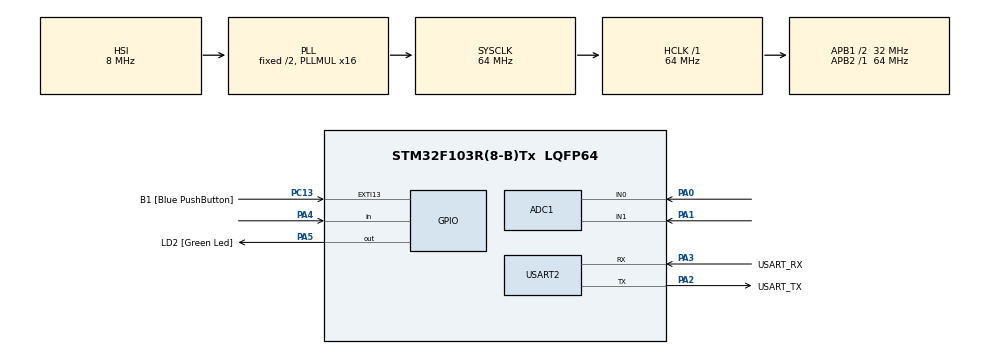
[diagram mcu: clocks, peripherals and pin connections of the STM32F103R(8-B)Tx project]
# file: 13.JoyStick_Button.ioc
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ADC1.Channel-0\#ChannelRegularConversion=ADC_CHANNEL_0
ADC1.Channel-1\#ChannelRegularConversion=ADC_CHANNEL_1
ADC1.ContinuousConvMode=ENABLE
ADC1.NbrOfConversion=2
ADC1.NbrOfConversionFlag=1
ADC1.Rank-0\#ChannelRegularConversion=1
ADC1.Rank-1\#ChannelRegularConversion=2
ADC1.SamplingTime-0\#ChannelRegularConversion=ADC_SAMPLETIME_239CYCLES_5
ADC1.SamplingTime-1\#ChannelRegularConversion=ADC_SAMPLETIME_239CYCLES_5
ADC1.master=1
Dma.ADC1.0.Direction=DMA_PERIPH_TO_MEMORY
Dma.ADC1.0.Instance=DMA1_Channel1
Dma.ADC1.0.MemDataAlignment=DMA_MDATAALIGN_HALFWORD
Dma.ADC1.0.MemInc=DMA_MINC_ENABLE
Dma.ADC1.0.Mode=DMA_CIRCULAR
Dma.ADC1.0.PeriphDataAlignment=DMA_PDATAALIGN_HALFWORD
Dma.ADC1.0.PeriphInc=DMA_PINC_DISABLE
Dma.ADC1.0.Priority=DMA_PRIORITY_MEDIUM
Dma.Request0=ADC1
Mcu.Family=STM32F1
Mcu.Name=STM32F103R(8-B)Tx
Mcu.Package=LQFP64
NVIC.DMA1_Channel1_IRQn=true\:0\:0\:false\:false\:true\:false\:true\:true
NVIC.EXTI15_10_IRQn=true\:0\:0\:false\:false\:true\:true\:true\:true
NVIC.PriorityGroup=NVIC_PRIORITYGROUP_4
NVIC.TIM2_IRQn=true\:0\:0\:false\:false\:true\:true\:true\:true
PA0-WKUP.Signal=ADCx_IN0
PA1.Signal=ADCx_IN1
PA13.GPIO_Label=TMS
PA13.Mode=Serial_Wire
PA13.Signal=SYS_JTMS-SWDIO
PA14.GPIO_Label=TCK
PA14.Mode=Serial_Wire
PA14.Signal=SYS_JTCK-SWCLK
PA2.GPIO_Label=USART_TX
PA2.GPIO_Mode=GPIO_MODE_AF_PP
PA2.GPIO_PuPd=GPIO_NOPULL
PA2.GPIO_Speed=GPIO_SPEED_FREQ_LOW
PA2.Mode=Asynchronous
PA2.Signal=USART2_TX
PA3.GPIO_Label=USART_RX
PA3.GPIO_Mode=GPIO_MODE_AF_PP
PA3.GPIO_PuPd=GPIO_NOPULL
PA3.GPIO_Speed=GPIO_SPEED_FREQ_LOW
PA3.Mode=Asynchronous
PA3.Signal=USART2_RX
PA4.Signal=GPIO_Input
PA5.GPIO_Label=LD2 [Green Led]
PA5.GPIO_ModeDefaultOutputPP=GPIO_MODE_OUTPUT_PP
PA5.GPIO_PuPd=GPIO_NOPULL
PA5.GPIO_Speed=GPIO_SPEED_FREQ_LOW
PA5.Signal=GPIO_Output
PB3.GPIO_Label=SWO
PB3.Signal=SYS_JTDO-TRACESWO
PC13-TAMPER-RTC.GPIO_Label=B1 [Blue PushButton]
PC13-TAMPER-RTC.GPIO_PuPd=GPIO_NOPULL
PC13-TAMPER-RTC.Signal=GPXTI13
PC14-OSC32_IN.Signal=RCC_OSC32_IN
PC15-OSC32_OUT.Signal=RCC_OSC32_OUT
PD0-OSC_IN.Signal=RCC_OSC_IN
PD1-OSC_OUT.Signal=RCC_OSC_OUT
ProjectManager.HeapSize=0x200
ProjectManager.StackSize=0x400
ProjectManager.TargetToolchain=STM32CubeIDE
RCC.ADCPresc=RCC_ADCPCLK2_DIV6
RCC.AHBFreq_Value=64000000
RCC.APB1CLKDivider=RCC_HCLK_DIV2
RCC.APB1Freq_Value=32000000
RCC.APB1TimFreq_Value=64000000
RCC.APB2Freq_Value=64000000
RCC.APB2TimFreq_Value=64000000
RCC.HCLKFreq_Value=64000000
RCC.PLLMUL=RCC_PLL_MUL16
RCC.RTCClockSelection=RCC_RTCCLKSOURCE_LSE
RCC.SYSCLKFreq_VALUE=64000000
RCC.SYSCLKSource=RCC_SYSCLKSOURCE_PLLCLK
RCC.USBFreq_Value=64000000
SH.ADCx_IN0.0=ADC1_IN0,IN0
SH.ADCx_IN1.0=ADC1_IN1,IN1
TIM2.Period=499
TIM2.Prescaler=6399
USART2.VirtualMode=VM_ASYNC
VP_TIM2_VS_ClockSourceINT.Mode=Internal
board=NUCLEO-F103RB

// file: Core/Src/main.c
/* USER CODE BEGIN Header */
/**
  ******************************************************************************
  * @file           : main.c
  * @brief          : Main program body
  ******************************************************************************
  * @attention
  *
  * Copyright (c) 2025 STMicroelectronics.
  * All rights reserved.
  *
  * This software is licensed under terms that can be found in the LICENSE file
  * in the root directory of this software component.
  * If no LICENSE file comes with this software, it is provided AS-IS.
  *
  ******************************************************************************
  */
/* USER CODE END Header */
#include "main.h"

/* USER CODE BEGIN Includes */
#include "stm32f1xx_hal.h"
#include <stdio.h>
#include <string.h>
/* USER CODE END Includes */

/* USER CODE BEGIN PD */
#define ADC_BUFFER_SIZE 2
#define FILTER_SIZE 8
#define ADC_MAX_VALUE 4095
#define DEADZONE_THRESHOLD 20

#define DEBOUNCE_MS         50      /* Debounce time in ms */
#define LONG_PRESS_MS       700    /* Long press threshold */
#define DOUBLE_CLICK_MS     500     /* Double click window */

//// 스위치 디바운싱 설정
//#define DEBOUNCE_TIME_MS 200

// 캘리브레이션 샘플 수
#define CALIBRATION_SAMPLES 32

/* USER CODE END PD */

ADC_HandleTypeDef hadc1;
DMA_HandleTypeDef hdma_adc1;

TIM_HandleTypeDef htim2;

UART_HandleTypeDef huart2;

/* USER CODE BEGIN PV */
uint16_t adc_buffer[ADC_BUFFER_SIZE];
uint16_t joystick_x_raw = 0;
uint16_t joystick_y_raw = 0;

// X축 필터 변수
uint32_t x_filter_buffer[FILTER_SIZE] = {0};
uint8_t x_filter_index = 0;
uint8_t x_filter_init = 0;

// Y축 필터 변수
uint32_t y_filter_buffer[FILTER_SIZE] = {0};
uint8_t y_filter_index = 0;
uint8_t y_filter_init = 0;

uint16_t joystick_x_filtered = 0;
uint16_t joystick_y_filtered = 0;

// 캘리브레이션 값 (중립 위치)
uint16_t joystick_x_center = ADC_MAX_VALUE / 2;  // 기본값 2048
uint16_t joystick_y_center = ADC_MAX_VALUE / 2;  // 기본값 2048
uint8_t calibration_done = 0;

int16_t joystick_x_percent = 0;
int16_t joystick_y_percent = 0;

char direction_char = 'X';
char prev_direction_char = 'X';

// 스위치 관련 변수
volatile uint8_t switch_pressed = 0;
volatile uint32_t last_switch_time = 0;

char uart_buffer[100];

volatile uint32_t button_press_time = 0;
volatile uint32_t button_release_time = 0;
volatile uint32_t last_click_time = 0;
volatile uint8_t button_state = 0;
volatile uint8_t click_count = 0;
volatile uint32_t press_count = 0;
volatile uint8_t pending_click = 0;

/* Event flags */
volatile uint8_t event_short_press = 0;  // HOLD (U)
volatile uint8_t event_long_press = 0;   // HOME (Y)
volatile uint8_t event_double_click = 0; // RELEASE (I)

/* USER CODE END PV */

void SystemClock_Config(void);
static void MX_GPIO_Init(void);
static void MX_DMA_Init(void);
static void MX_USART2_UART_Init(void);
static void MX_ADC1_Init(void);
static void MX_TIM2_Init(void);
/* USER CODE BEGIN PFP */
void process_joystick_data(void);
void calibrate_joystick(void);
uint16_t apply_moving_average_x(uint16_t new_value);
uint16_t apply_moving_average_y(uint16_t new_value);
int16_t convert_to_percentage_calibrated(uint16_t adc_value, uint16_t center);
char get_direction_char(int16_t x_percent, int16_t y_percent);

/* 버튼 및 통신 관련 프로토타입 추가 */
void Process_Button(void);
void Handle_Events(void);
void UART_SendString(char *str);

/* USER CODE END PFP */

/* USER CODE BEGIN 0 */
#ifdef __GNUC__
#define PUTCHAR_PROTOTYPE int __io_putchar(int ch)
#else
#define PUTCHAR_PROTOTYPE int fputc(int ch, FILE *f)
#endif

PUTCHAR_PROTOTYPE
{
    if (ch == '\n')
        HAL_UART_Transmit(&huart2, (uint8_t*)"\r", 1, 0xFFFF);
    HAL_UART_Transmit(&huart2, (uint8_t*)&ch, 1, 0xFFFF);
    return ch;
}

// X축 전용 이동 평균 필터
uint16_t apply_moving_average_x(uint16_t new_value)
{
    uint32_t sum = 0;

    // 첫 호출 시 버퍼 초기화
    if (!x_filter_init) {
        for (int i = 0; i < FILTER_SIZE; i++) {
            x_filter_buffer[i] = new_value;
        }
        x_filter_init = 1;
        return new_value;
    }

    // 현재 인덱스에 새 값 저장
    x_filter_buffer[x_filter_index] = new_value;
    x_filter_index = (x_filter_index + 1) % FILTER_SIZE;

    // 평균 계산
    for (int i = 0; i < FILTER_SIZE; i++) {
        sum += x_filter_buffer[i];
    }

    return (uint16_t)(sum / FILTER_SIZE);
}

// Y축 전용 이동 평균 필터
uint16_t apply_moving_average_y(uint16_t new_value)
{
    uint32_t sum = 0;

    // 첫 호출 시 버퍼 초기화
    if (!y_filter_init) {
        for (int i = 0; i < FILTER_SIZE; i++) {
            y_filter_buffer[i] = new_value;
        }
        y_filter_init = 1;
        return new_value;
    }

    // 현재 인덱스에 새 값 저장
    y_filter_buffer[y_filter_index] = new_value;
    y_filter_index = (y_filter_index + 1) % FILTER_SIZE;

    // 평균 계산
    for (int i = 0; i < FILTER_SIZE; i++) {
        sum += y_filter_buffer[i];
    }

    return (uint16_t)(sum / FILTER_SIZE);
}

// 캘리브레이션된 퍼센트 변환
int16_t convert_to_percentage_calibrated(uint16_t adc_value, uint16_t center)
{
    int16_t centered_value = (int16_t)adc_value - (int16_t)center;
    int16_t percentage;

    if (centered_value >= 0) {
        // 양의 방향: center ~ ADC_MAX_VALUE
        uint16_t range = ADC_MAX_VALUE - center;
        if (range == 0) range = 1;  // 0으로 나누기 방지
        percentage = (centered_value * 100) / range;
    } else {
        // 음의 방향: 0 ~ center
        uint16_t range = center;
        if (range == 0) range = 1;  // 0으로 나누기 방지
        percentage = (centered_value * 100) / range;
    }

    // 범위 제한
    if (percentage > 100) percentage = 100;
    if (percentage < -100) percentage = -100;

    return percentage;
}

// 조이스틱 캘리브레이션 (시작 시 호출)
void calibrate_joystick(void)
{
    uint32_t x_sum = 0;
    uint32_t y_sum = 0;

    printf("Calibrating joystick... Keep neutral position!\n");
    HAL_Delay(500);  // 안정화 대기

    // 여러 샘플 수집
    for (int i = 0; i < CALIBRATION_SAMPLES; i++) {
        x_sum += adc_buffer[0];
        y_sum += adc_buffer[1];
        HAL_Delay(10);
    }

    joystick_x_center = x_sum / CALIBRATION_SAMPLES;
    joystick_y_center = y_sum / CALIBRATION_SAMPLES;
    calibration_done = 1;

    printf("Calibration done! Center: X=%d, Y=%d\n",
           joystick_x_center, joystick_y_center);
}

// 방향 문자 결정
char get_direction_char(int16_t x_percent, int16_t y_percent)
{
    int16_t abs_x = (x_percent >= 0) ? x_percent : -x_percent;
    int16_t abs_y = (y_percent >= 0) ? y_percent : -y_percent;

    // 데드존 내에 있으면 중립
    if (abs_x < DEADZONE_THRESHOLD && abs_y < DEADZONE_THRESHOLD) {
        return 'X';
    }

    // Y축이 더 크거나 같으면 W/S
    if (abs_y >= abs_x) {
        if (y_percent >= DEADZONE_THRESHOLD) {
            return 'W';
        } else if (y_percent <= -DEADZONE_THRESHOLD) {
            return 'S';
        }
    }

    // X축이 더 크면 D/A
    if (abs_x > abs_y) {
        if (x_percent >= DEADZONE_THRESHOLD) {
            return 'D';
        } else if (x_percent <= -DEADZONE_THRESHOLD) {
            return 'A';
        }
    }

    return 'X';
}

// 조이스틱 데이터 처리
void process_joystick_data(void)
{
    // 캘리브레이션 완료 전에는 처리하지 않음
    if (!calibration_done) return;

    joystick_x_raw = adc_buffer[0];
    joystick_y_raw = adc_buffer[1];

    // 각 축별 독립적인 필터 적용
    joystick_x_filtered = apply_moving_average_x(joystick_x_raw);
    joystick_y_filtered = apply_moving_average_y(joystick_y_raw);

    // 캘리브레이션된 중심값 기준으로 퍼센트 계산
    joystick_x_percent = convert_to_percentage_calibrated(joystick_x_filtered, joystick_x_center);
    joystick_y_percent = convert_to_percentage_calibrated(joystick_y_filtered, joystick_y_center);

    direction_char = get_direction_char(joystick_x_percent, joystick_y_percent);
}

/**
  * @brief  외부 인터럽트 콜백 (조이스틱 스위치)
  */
void HAL_GPIO_EXTI_Callback(uint16_t GPIO_Pin)
{
    uint32_t current_time = HAL_GetTick();

    // PA4 (조이스틱 스위치) 또는 PC13 (Blue Button)
    if (GPIO_Pin == GPIO_PIN_4 || GPIO_Pin == GPIO_PIN_13) {
        // 디바운싱: 마지막 입력 후 일정 시간 경과했는지 확인
        if ((current_time - last_switch_time) > DEBOUNCE_MS) {
            switch_pressed = 1;
            last_switch_time = current_time;
        }
    }
}

// 타이머 인터럽트 콜백
void HAL_TIM_PeriodElapsedCallback(TIM_HandleTypeDef *htim)
{
    if (htim->Instance == TIM2) {
        process_joystick_data();

        // 방향이 바뀌었을 때만 전송 (개행 문자 \n 추가)
        if (direction_char != prev_direction_char) {
            if (direction_char != 'X') { // 'X'(정지)가 아닐 때만 출력하고 싶다면 조건 추가
                printf("%c\n", direction_char);
            } else {
                printf("X\n"); // 정지 상태 전송
            }
            prev_direction_char = direction_char;
        }
    }
}
void Process_Button(void)
{
    static uint8_t prev_state = 1;
    static uint32_t state_change_time = 0;
    static uint8_t debounced_state = 1;
    static uint8_t is_pressed = 0;

    uint8_t current_state = HAL_GPIO_ReadPin(GPIOA, GPIO_PIN_4);
    uint32_t current_time = HAL_GetTick();

    // 1. 디바운싱 처리
    if (current_state != prev_state) {
        state_change_time = current_time;
        prev_state = current_state;
    }

    if ((current_time - state_change_time) >= DEBOUNCE_MS) {
        if (current_state != debounced_state) {
            debounced_state = current_state;

            if (debounced_state == GPIO_PIN_RESET) { // 버튼 눌림
                button_press_time = current_time;
                is_pressed = 1;
            }
            else if (is_pressed) { // 버튼 뗌
                uint32_t duration = current_time - button_press_time;
                is_pressed = 0;

                if (duration >= LONG_PRESS_MS) {
                    event_long_press = 1; // HOME (y)
                    pending_click = 0;
                } else {
                    if (pending_click && (current_time - last_click_time) < DOUBLE_CLICK_MS) {
                        event_double_click = 1; // RELEASE (i)
                        pending_click = 0;
                    } else {
                        pending_click = 1; // 단일 클릭 가능성 대기
                    }
                    last_click_time = current_time;
                }
            }
        }
    }

    // 2. 단일 클릭 확정 처리 (더블 클릭 대기 시간이 지났을 때)
    if (pending_click && (current_time - last_click_time) >= DOUBLE_CLICK_MS) {
        event_short_press = 1; // HOLD (u)
        pending_click = 0;
    }
}
/**
 * @brief  Handle detected button events
 * @retval None
 */
void Handle_Events(void)
{
    if (event_short_press) {
        event_short_press = 0;
        printf("U\n"); // 자동차가 'U'를 받으면 HOLD(잡기) 수행
    }
    if (event_long_press) {
        event_long_press = 0;
        printf("Y\n"); // 자동차가 'Y'를 받으면 HOME(중립) 수행
    }
    if (event_double_click) {
        event_double_click = 0;
        printf("I\n"); // 자동차가 'I'를 받으면 RELEASE(놓기) 수행
    }
}
/**
 * @brief  Send string via UART
 * @param  str: String to send
 * @retval None
 */
void UART_SendString(char *str)
{
    HAL_UART_Transmit(&huart2, (uint8_t *)str, strlen(str), HAL_MAX_DELAY);
}
/* USER CODE END 0 */

int main(void)
{

  /* MCU Configuration--------------------------------------------------------*/

  /* Reset of all peripherals, Initializes the Flash interface and the Systick. */
  HAL_Init();

  /* Configure the system clock */
  SystemClock_Config();

  /* Initialize all configured peripherals */
  MX_GPIO_Init();
  MX_DMA_Init();
  MX_USART2_UART_Init();
  MX_ADC1_Init();
  MX_TIM2_Init();
  /* USER CODE BEGIN 2 */
  if (HAL_DMA_Init(&hdma_adc1) != HAL_OK) {
        Error_Handler();
    }

    __HAL_LINKDMA(&hadc1, DMA_Handle, hdma_adc1);

    HAL_ADCEx_Calibration_Start(&hadc1);
    HAL_ADC_Start_DMA(&hadc1, (uint32_t*)adc_buffer, ADC_BUFFER_SIZE);

    // ADC DMA 안정화 대기 후 캘리브레이션 수행
    HAL_Delay(100);
    calibrate_joystick();

    // 타이머 인터럽트 시작
    HAL_TIM_Base_Start_IT(&htim2);

    printf("Joystick Control Started\n");
    printf("Commands: W/A/S/D/X + B(Button)\n");

    UART_SendString("\r\n========================================\r\n");
    UART_SendString("  Button Switch Module Test\r\n");
	UART_SendString("  NUCLEO-F103RB\r\n");
	UART_SendString("========================================\r\n");
	UART_SendString("Button Events Detected:\r\n");
	UART_SendString("  - Short Press (< 1 sec)\r\n");
	UART_SendString("  - Long Press (>= 1 sec)\r\n");
	UART_SendString("  - Double Click (< 300ms)\r\n\r\n");
	UART_SendString("Press the button to start...\r\n\r\n");

	/* Initial state read */
	button_state = HAL_GPIO_ReadPin(GPIOA, GPIO_PIN_4);
  /* USER CODE END 2 */

  /* Infinite loop */
  /* USER CODE BEGIN WHILE */
  while (1)
  {
      /* Process button state */
      Process_Button();

      /* Handle detected events */
      Handle_Events();

      HAL_Delay(50);
    /* USER CODE END WHILE */

    /* USER CODE BEGIN 3 */
//      HAL_Delay(10);  // 메인 루프 딜레이
  }
  /* USER CODE END 3 */
}

void SystemClock_Config(void)
{
  RCC_OscInitTypeDef RCC_OscInitStruct = {0};
  RCC_ClkInitTypeDef RCC_ClkInitStruct = {0};
  RCC_PeriphCLKInitTypeDef PeriphClkInit = {0};

  /** Initializes the RCC Oscillators according to the specified parameters
  * in the RCC_OscInitTypeDef structure.
  */
  RCC_OscInitStruct.OscillatorType = RCC_OSCILLATORTYPE_HSI;
  RCC_OscInitStruct.HSIState = RCC_HSI_ON;
  RCC_OscInitStruct.HSICalibrationValue = RCC_HSICALIBRATION_DEFAULT;
  RCC_OscInitStruct.PLL.PLLState = RCC_PLL_ON;
  RCC_OscInitStruct.PLL.PLLSource = RCC_PLLSOURCE_HSI_DIV2;
  RCC_OscInitStruct.PLL.PLLMUL = RCC_PLL_MUL16;
  if (HAL_RCC_OscConfig(&RCC_OscInitStruct) != HAL_OK)
  {
    Error_Handler();
  }

  /** Initializes the CPU, AHB and APB buses clocks
  */
  RCC_ClkInitStruct.ClockType = RCC_CLOCKTYPE_HCLK|RCC_CLOCKTYPE_SYSCLK
                              |RCC_CLOCKTYPE_PCLK1|RCC_CLOCKTYPE_PCLK2;
  RCC_ClkInitStruct.SYSCLKSource = RCC_SYSCLKSOURCE_PLLCLK;
  RCC_ClkInitStruct.AHBCLKDivider = RCC_SYSCLK_DIV1;
  RCC_ClkInitStruct.APB1CLKDivider = RCC_HCLK_DIV2;
  RCC_ClkInitStruct.APB2CLKDivider = RCC_HCLK_DIV1;

  if (HAL_RCC_ClockConfig(&RCC_ClkInitStruct, FLASH_LATENCY_2) != HAL_OK)
  {
    Error_Handler();
  }
  PeriphClkInit.PeriphClockSelection = RCC_PERIPHCLK_ADC;
  PeriphClkInit.AdcClockSelection = RCC_ADCPCLK2_DIV6;
  if (HAL_RCCEx_PeriphCLKConfig(&PeriphClkInit) != HAL_OK)
  {
    Error_Handler();
  }
}

static void MX_ADC1_Init(void)
{

  ADC_ChannelConfTypeDef sConfig = {0};

  /** Common config
  */
  hadc1.Instance = ADC1;
  hadc1.Init.ScanConvMode = ADC_SCAN_ENABLE;
  hadc1.Init.ContinuousConvMode = ENABLE;
  hadc1.Init.DiscontinuousConvMode = DISABLE;
  hadc1.Init.ExternalTrigConv = ADC_SOFTWARE_START;
  hadc1.Init.DataAlign = ADC_DATAALIGN_RIGHT;
  hadc1.Init.NbrOfConversion = 2;
  if (HAL_ADC_Init(&hadc1) != HAL_OK)
  {
    Error_Handler();
  }

  /** Configure Regular Channel
  */
  sConfig.Channel = ADC_CHANNEL_0;
  sConfig.Rank = ADC_REGULAR_RANK_1;
  sConfig.SamplingTime = ADC_SAMPLETIME_239CYCLES_5;
  if (HAL_ADC_ConfigChannel(&hadc1, &sConfig) != HAL_OK)
  {
    Error_Handler();
  }

  /** Configure Regular Channel
  */
  sConfig.Channel = ADC_CHANNEL_1;
  sConfig.Rank = ADC_REGULAR_RANK_2;
  if (HAL_ADC_ConfigChannel(&hadc1, &sConfig) != HAL_OK)
  {
    Error_Handler();
  }

}

static void MX_TIM2_Init(void)
{

  TIM_ClockConfigTypeDef sClockSourceConfig = {0};
  TIM_MasterConfigTypeDef sMasterConfig = {0};

  htim2.Instance = TIM2;
  htim2.Init.Prescaler = 6399;
  htim2.Init.CounterMode = TIM_COUNTERMODE_UP;
  htim2.Init.Period = 499;
  htim2.Init.ClockDivision = TIM_CLOCKDIVISION_DIV1;
  htim2.Init.AutoReloadPreload = TIM_AUTORELOAD_PRELOAD_DISABLE;
  if (HAL_TIM_Base_Init(&htim2) != HAL_OK)
  {
    Error_Handler();
  }
  sClockSourceConfig.ClockSource = TIM_CLOCKSOURCE_INTERNAL;
  if (HAL_TIM_ConfigClockSource(&htim2, &sClockSourceConfig) != HAL_OK)
  {
    Error_Handler();
  }
  sMasterConfig.MasterOutputTrigger = TIM_TRGO_RESET;
  sMasterConfig.MasterSlaveMode = TIM_MASTERSLAVEMODE_DISABLE;
  if (HAL_TIMEx_MasterConfigSynchronization(&htim2, &sMasterConfig) != HAL_OK)
  {
    Error_Handler();
  }

}

static void MX_USART2_UART_Init(void)
{

  huart2.Instance = USART2;
  huart2.Init.BaudRate = 115200;
  huart2.Init.WordLength = UART_WORDLENGTH_8B;
  huart2.Init.StopBits = UART_STOPBITS_1;
  huart2.Init.Parity = UART_PARITY_NONE;
  huart2.Init.Mode = UART_MODE_TX_RX;
  huart2.Init.HwFlowCtl = UART_HWCONTROL_NONE;
  huart2.Init.OverSampling = UART_OVERSAMPLING_16;
  if (HAL_UART_Init(&huart2) != HAL_OK)
  {
    Error_Handler();
  }

}

static void MX_DMA_Init(void)
{

  /* DMA controller clock enable */
  __HAL_RCC_DMA1_CLK_ENABLE();

  /* DMA interrupt init */
  /* DMA1_Channel1_IRQn interrupt configuration */
  HAL_NVIC_SetPriority(DMA1_Channel1_IRQn, 0, 0);
  HAL_NVIC_EnableIRQ(DMA1_Channel1_IRQn);

}

static void MX_GPIO_Init(void)
{
  GPIO_InitTypeDef GPIO_InitStruct = {0};

  /* GPIO Ports Clock Enable */
  __HAL_RCC_GPIOC_CLK_ENABLE();
  __HAL_RCC_GPIOD_CLK_ENABLE();
  __HAL_RCC_GPIOA_CLK_ENABLE();
  __HAL_RCC_GPIOB_CLK_ENABLE();

  /*Configure GPIO pin Output Level */
  HAL_GPIO_WritePin(LD2_GPIO_Port, LD2_Pin, GPIO_PIN_RESET);

  /*Configure GPIO pin : B1_Pin */
  GPIO_InitStruct.Pin = B1_Pin;
  GPIO_InitStruct.Mode = GPIO_MODE_IT_RISING;
  GPIO_InitStruct.Pull = GPIO_NOPULL;
  HAL_GPIO_Init(B1_GPIO_Port, &GPIO_InitStruct);

  /*Configure GPIO pin : PA4 */
  GPIO_InitStruct.Pin = GPIO_PIN_4;
  GPIO_InitStruct.Mode = GPIO_MODE_INPUT;
  GPIO_InitStruct.Pull = GPIO_PULLUP;
  HAL_GPIO_Init(GPIOA, &GPIO_InitStruct);

  /*Configure GPIO pin : LD2_Pin */
  GPIO_InitStruct.Pin = LD2_Pin;
  GPIO_InitStruct.Mode = GPIO_MODE_OUTPUT_PP;
  GPIO_InitStruct.Pull = GPIO_NOPULL;
  GPIO_InitStruct.Speed = GPIO_SPEED_FREQ_LOW;
  HAL_GPIO_Init(LD2_GPIO_Port, &GPIO_InitStruct);

  /* EXTI interrupt init*/
  HAL_NVIC_SetPriority(EXTI15_10_IRQn, 0, 0);
  HAL_NVIC_EnableIRQ(EXTI15_10_IRQn);

}

void Error_Handler(void)
{
  __disable_irq();
  while (1)
  {
  }
}
